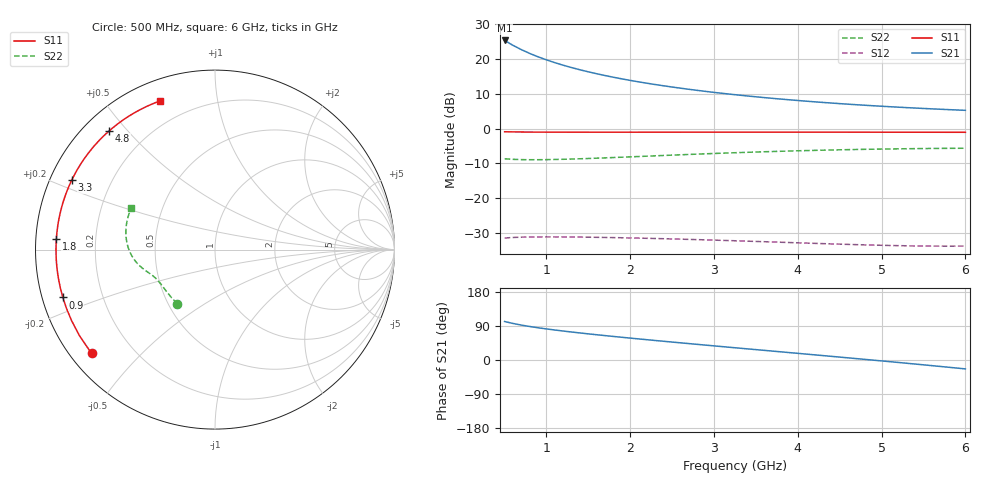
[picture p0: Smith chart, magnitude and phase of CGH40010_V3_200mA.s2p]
!AWR Design Environment (4229) Thu Oct 16 13:34:51 2008
!CGH40010F_V3 Vdd=28 volts; Idq=200mA
!freq-unit  param-type  data-format  keyword  impedance-ohms
# GHz  S  MA  R  50
!Freq  MagS11  AngS11  MagS21  AngS21  MagS12  AngS12  MagS22  AngS22
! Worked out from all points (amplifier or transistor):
!   56 points, 500 MHz to 6 GHz, reference 50 ohm
!   highest |S21| = 25.3 dB at 500 MHz (marker M1)
!   |S21| within 3 dB of that: start of sweep to 733.1 MHz
!   unconditionally stable (mu >= 1): 3.865 GHz to end of sweep
!   at 1.4 GHz: K = 0.31, MSG = 24.0 dB, |S12| = -31.2 dB
!   at 3.3 GHz: K = 0.81, MSG = 20.9 dB, |S12| = -32.3 dB
!   at 6 GHz: K = 1.77, MAG = 14.4 dB, |S12| = -33.8 dB
!   S11 on the Smith chart (normalised r, x): 500 MHz: 0.06, -0.36; 900 MHz: 0.06, -0.15; 1.8 GHz: 0.06, +0.03; 3.3 GHz: 0.06, +0.23; 4.8 GHz: 0.07, +0.45; 6 GHz: 0.09, +0.69
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0.5  0.8989 -139.9  18.41 101.6  0.02675 15.3  0.3675 -124.8
0.6  0.8945 -147.7  15.65 96.4  0.02724 10.9  0.361 -132.1
0.7  0.8917 -153.7  13.58 92.1  0.02752 7.3  0.3577 -137.5
0.8  0.8899 -158.5  11.98 88.4  0.02768 4.3  0.3564 -141.6
0.9  0.8886 -162.5  10.71 85.0  0.02776 1.7  0.3564 -144.9
1  0.8877 -166.0  9.682 82.0  0.02779 -0.6  0.3575 -147.6
1.1  0.8871 -169.0  8.829 79.1  0.02778 -2.7  0.3593 -149.7
1.2  0.8867 -171.6  8.113 76.4  0.02774 -4.6  0.3617 -151.6
1.3  0.8864 -174.1  7.502 73.8  0.02768 -6.4  0.3645 -153.2
1.4  0.8861 -176.3  6.977 71.4  0.0276 -8.1  0.3678 -154.6
1.5  0.886 -178.3  6.52 69.0  0.0275 -9.7  0.3713 -155.8
1.6  0.8859 179.7  6.119 66.6  0.02738 -11.2  0.375 -156.9
1.8  0.8859 176.2  5.449 62.1  0.02713 -14.1  0.3832 -159.0
2.1  0.8861 171.3  4.681 55.6  0.02667 -18.0  0.3964 -161.7
2.4  0.8863 166.8  4.106 49.4  0.02614 -21.6  0.4103 -164.3
2.8  0.8867 161.1  3.533 41.3  0.02537 -25.9  0.429 -167.8
3.3  0.8871 154.1  3.018 31.3  0.02432 -30.6  0.4514 -172.5
3.7  0.8871 148.4  2.712 23.4  0.02346 -33.8  0.4678 -176.5
4.2  0.8869 141.1  2.419 13.6  0.02242 -37.0  0.4856 178.0
4.8  0.8861 131.8  2.16 1.6  0.02133 -39.6  0.5026 170.8
5.1  0.8855 126.8  2.057 -4.5  0.02091 -40.4  0.5092 166.8
6  0.8831 110.2  1.825 -23.5  0.02048 -41.0  0.5211 153.6
